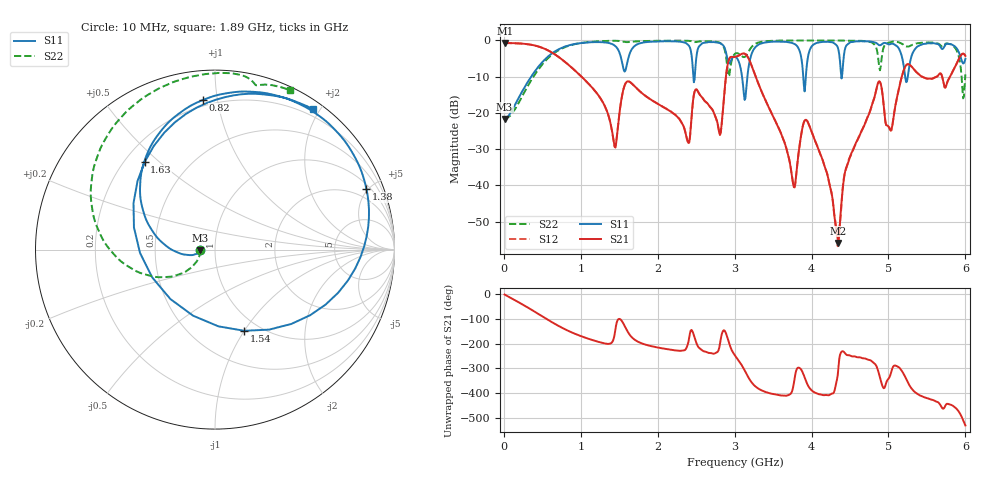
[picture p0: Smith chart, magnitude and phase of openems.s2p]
! G_pp100: Plane pair 50 × 30 mm, d = 0.1 mm, ports at a corner and the centre
! stackup: plane pair, 0.1 mm FR-4
! ports: 1 corner, 2 centre
! openEMS 0.37.0, staircase, fine mesh (dfine 0.05 mm), 478023 cells
# Hz S RI R 1
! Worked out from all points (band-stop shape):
!   600 points, 10 MHz to 6 GHz, reference 1 ohm
!   highest |S21| = -0.75 dB at 20 MHz (marker M1); lowest = -55.8 dB at 4.35 GHz (marker M2)
!   |S21| within 3 dB of the highest: start of sweep to 654 MHz; 3.091 GHz to 3.135 GHz (43.93 MHz wide, 1.41 % of centre)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
!   lowest |S11| = -21.7 dB at 10 MHz (marker M3), VSWR 1.18, Z = 0.848 - j0.00525 ohm
!   |S11| at or under -10 dB: start of sweep to 355.4 MHz; 3.096 GHz to 3.166 GHz (70.06 MHz wide, 2.24 % of centre); 5.217 GHz to 5.251 GHz (34.2 MHz wide, 0.653 % of centre)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
!   |S22| runs from -21.7 to 0.0 dB; largest |S21 - S12| = 0.0023
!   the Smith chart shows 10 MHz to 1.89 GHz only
!   S11 on the Smith chart (normalised r, x): 10 MHz: 0.85, -0.01; 820 MHz: 0.16, +0.91; 1.38 GHz: 1.25, +4.86; 1.54 GHz: 0.85, -1.00; 1.63 GHz: 0.28, +0.45; 1.89 GHz: 0.11, +1.92
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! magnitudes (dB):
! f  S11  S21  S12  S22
! 10 MHz  -21.7  -0.7  -0.8  -21.6
! 20 MHz  -21.6  -0.7  -0.7  -21.7
! 820 MHz  -1.6  -6.4  -6.4  -1.7
! 1.01 GHz  -0.7  -10.0  -10.0  -0.7
! 1.38 GHz  -0.8  -22.3  -22.3  -0.1
! 1.54 GHz  -6.4  -14.9  -14.9  -0.3
! 1.63 GHz  -4.1  -11.4  -11.4  -0.5
! 1.89 GHz  -0.4  -16.0  -16.1  -0.2
! 2.01 GHz  -0.3  -17.6  -17.6  -0.1
! 2.8 GHz  -0.7  -25.5  -25.3  -0.6
! 3.01 GHz  -4.5  -4.6  -4.5  -3.6
! 3.13 GHz  -16.4  -3.7  -3.7  -4.6
! 3.28 GHz  -1.7  -10.4  -10.3  -0.8
! 3.77 GHz  -0.9  -40.5  -40.3  0.0
! 3.91 GHz  -14.1  -22.1  -22.2  -0.1
! 4.01 GHz  -1.5  -25.7  -25.6  -0.1
! 4.35 GHz  -2.6  -55.8  -54.6  0.0
! 4.45 GHz  -1.5  -35.1  -35.5  -0.1
! 4.86 GHz  -1.0  -12.0  -12.1  -3.8
! 5.01 GHz  -1.1  -24.2  -23.9  -0.6
! 5.24 GHz  -11.4  -6.7  -6.7  -1.7
! 6 GHz  -5.1  -4.3  -4.3  -9.4
